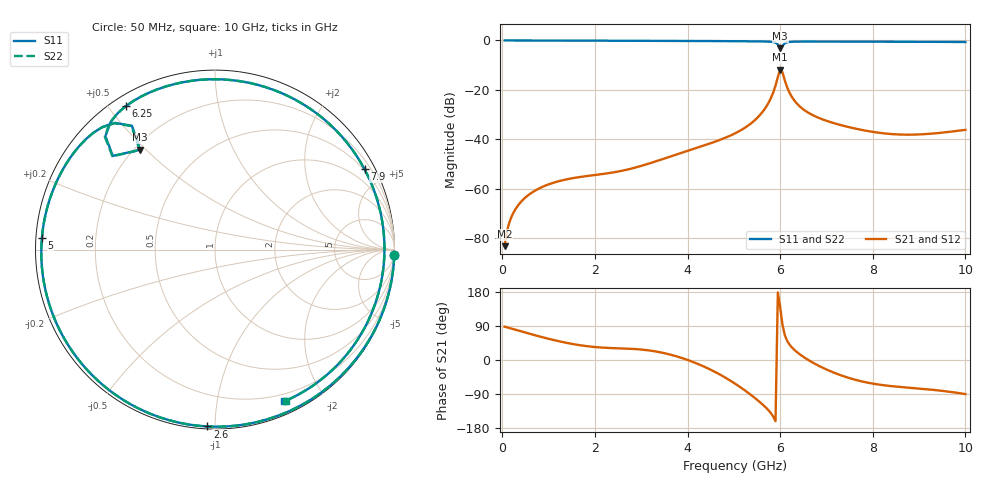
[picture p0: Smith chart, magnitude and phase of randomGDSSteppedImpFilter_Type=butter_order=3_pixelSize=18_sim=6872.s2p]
! freq	dB(S11)	phase(S11)	dB(S12)	phase(S12)
!  dB(S21)	phase(S21)	dB(S22)	phase(S22)
!S-par simulation data
#  GHz  S  DB  R 50
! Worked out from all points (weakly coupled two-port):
!   200 points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, 50 MHz to 10 GHz, reference 50 ohm
!   highest |S21| = -11.78 dB at 6 GHz (marker M1); lowest = -83.3 dB at 50 MHz (marker M2)
!   lowest |S11| = -3.2 dB at 6 GHz (marker M3), VSWR 5.55, Z = 11.2 + j24 ohm
!   |S11| at or under -10 dB: nowhere
!   |S22| runs from -3.2 to 0.0 dB; largest |S21 - S12| = 0
!   S11 on the Smith chart (normalised r, x): 50 MHz: 1, -62; 2.6 GHz: 0.01, -0.96; 5 GHz: 0.02, +0.03; 6.25 GHz: 0.04, +0.55; 7.9 GHz: 0.46, +3.93; 10 GHz: 0.12, -1.55
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0.05  -0.00 -1.8  -83.34 88.0  -83.34 88.0  -0.00 -1.8
0.25  -0.01 -9.1  -69.45 81.0  -69.45 81.0  -0.01 -9.1
0.55  -0.02 -19.9  -62.83 70.6  -62.83 70.6  -0.02 -19.9
1.05  -0.05 -37.8  -57.97 54.5  -57.97 54.5  -0.05 -37.8
1.75  -0.08 -62.6  -55.13 37.7  -55.13 37.7  -0.08 -62.6
2.6  -0.12 -92.5  -52.73 30.5  -52.73 30.5  -0.12 -92.5
3.4  -0.16 -121.0  -48.46 20.6  -48.46 20.6  -0.16 -121.0
4.25  -0.22 -152.9  -43.22 -11.7  -43.22 -11.7  -0.22 -152.9
5  -0.29 176.1  -37.88 -60.3  -37.88 -60.3  -0.29 176.3
5.05  -0.30 173.9  -37.41 -64.3  -37.41 -64.3  -0.30 174.1
5.65  -0.41 145.1  -28.20 -120.7  -28.20 -120.7  -0.41 145.3
5.9  -0.91 128.4  -18.30 -161.4  -18.30 -161.4  -0.91 128.6
6  -3.16 126.8  -11.78 139.8  -11.78 139.8  -3.16 127.1
6.05  -2.24 137.5  -12.88 92.9  -12.88 92.9  -2.24 137.7
6.1  -1.12 134.0  -16.14 65.7  -16.14 65.7  -1.12 134.3
6.25  -0.53 121.9  -22.79 33.6  -22.79 33.6  -0.53 122.2
6.7  -0.45 95.3  -30.23 -6.6  -30.23 -6.6  -0.45 95.6
7.25  -0.47 64.1  -33.99 -37.7  -33.99 -37.7  -0.47 64.6
7.9  -0.48 28.2  -36.73 -60.1  -36.73 -60.1  -0.48 28.8
8.35  -0.49 4.9  -37.84 -68.3  -37.84 -68.3  -0.49 5.4
9.2  -0.54 -34.4  -37.86 -77.5  -37.86 -77.5  -0.54 -33.8
10  -0.64 -65.6  -36.22 -89.9  -36.22 -89.9  -0.64 -65.0
